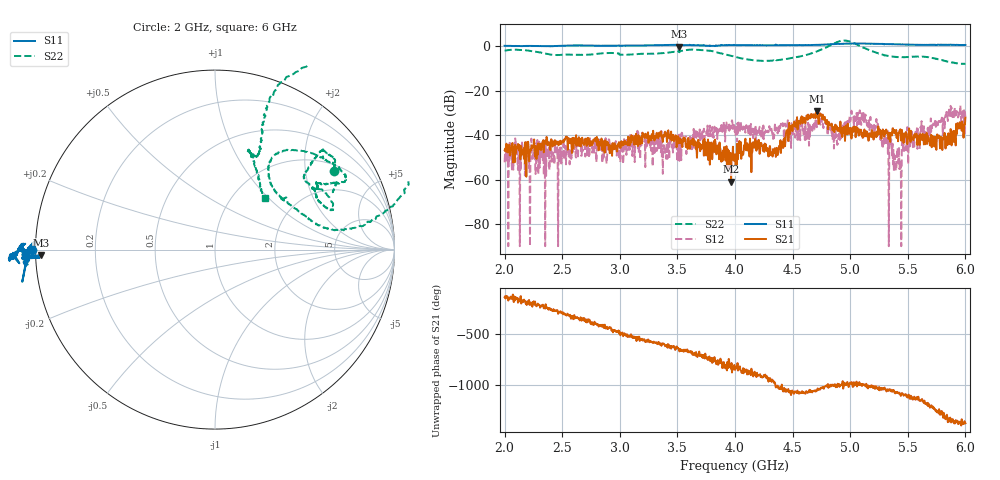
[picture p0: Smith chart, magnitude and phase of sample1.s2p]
!Output generated by mRS VNA Controller.
!Dual Port Reading
# Hz S dB R 50
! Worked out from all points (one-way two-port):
!   1000 points, 2 GHz to 6 GHz, reference 50 ohm
!   highest |S21| = -29.19 dB at 4.715 GHz (marker M1); lowest = -61.0 dB at 3.966 GHz (marker M2)
!   lowest |S11| = -0.3 dB at 3.518 GHz (marker M3), VSWR 61.63, Z = 0.812 - j0.818 ohm
!   |S11| at or under -10 dB: nowhere
!   |S22| runs from -8.0 to 2.6 dB; largest |S21 - S12| = 0.057
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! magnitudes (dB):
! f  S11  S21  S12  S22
! 2 GHz  0.2  -46.8  -52.3  -2.0
! 2.088 GHz  0.0  -52.2  -43.6  -1.6
! 2.124 GHz  0.1  -46.8  -46.4  -1.7
! 2.316 GHz  0.1  -46.7  -50.8  -2.9
! 2.48 GHz  0.1  -44.1  -45.7  -3.9
! 2.669 GHz  0.3  -43.9  -49.3  -3.9
! 3.337 GHz  0.4  -40.0  -43.3  -3.2
! 3.518 GHz  -0.3  -42.5  -51.6  -2.7
! 3.966 GHz  0.5  -61.0  -37.0  -4.4
! 4.002 GHz  0.5  -48.6  -35.9  -4.9
! 4.358 GHz  0.4  -49.0  -36.6  -6.4
! 4.671 GHz  0.5  -31.5  -38.1  -3.1
! 4.715 GHz  0.6  -29.2  -33.5  -2.3
! 4.879 GHz  0.9  -35.7  -39.6  1.6
! 5.007 GHz  1.1  -36.8  -31.1  1.9
! 5.119 GHz  1.2  -40.5  -34.2  -0.7
! 5.335 GHz  0.9  -41.6  -90.0  -4.4
! 5.423 GHz  0.8  -38.9  -45.4  -4.9
! 5.467 GHz  0.7  -39.3  -47.1  -5.0
! 5.628 GHz  0.6  -39.5  -38.5  -4.7
! 5.848 GHz  0.6  -43.4  -33.7  -6.9
! 6 GHz  0.5  -32.2  -32.2  -8.0
